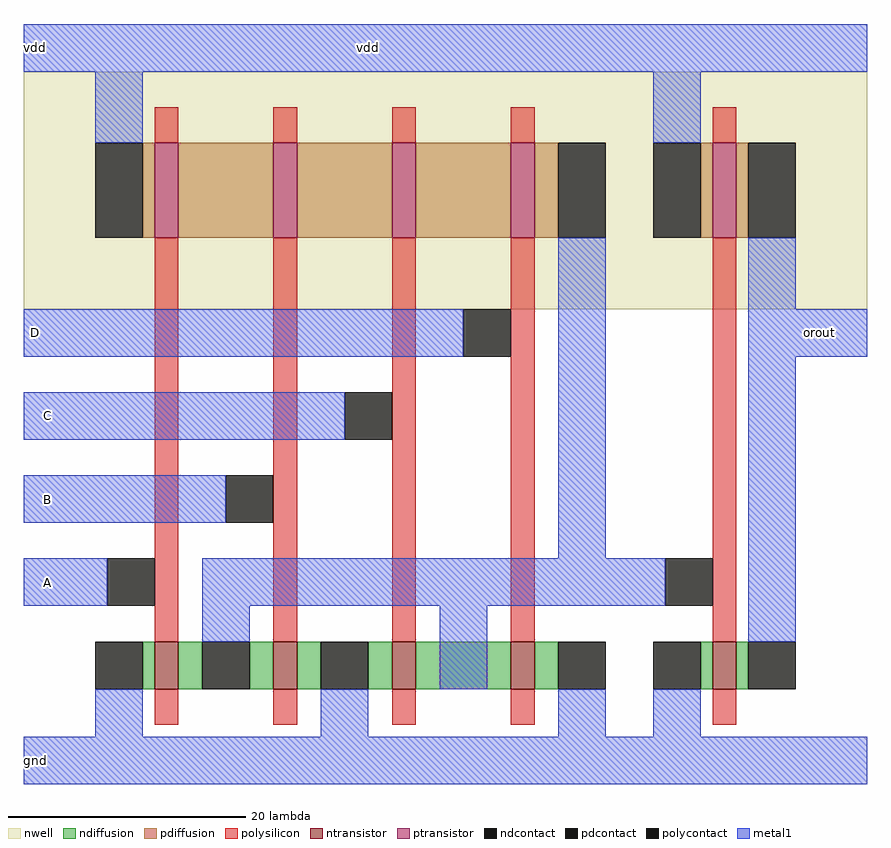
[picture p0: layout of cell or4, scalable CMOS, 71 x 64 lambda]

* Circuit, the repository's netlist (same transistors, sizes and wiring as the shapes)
* SPICE3 file created from or4.ext - technology: scmos

.include TSMC_180nm.txt
.param SUPPLY=1.8
.option scale=0.09u
.global vdd gnd

Vdd vdd gnd SUPPLY
Va A gnd pulse 0 1.8 0ns 0.1ns 0.1ns 9.9ns 20ns
Vb B gnd pulse 0 1.8 0ns 0.1ns 0.1ns 19.9ns 40ns
Vc C gnd pulse 0 1.8 0ns 0.1ns 0.1ns 39.9ns 80ns
Vd D gnd pulse 0 1.8 0ns 0.1ns 0.1ns 79.9ns 160ns

M1000 gnd B a_13_n31# Gnd CMOSN w=4 l=2
+  ad=96 pd=80 as=32 ps=24
M1001 orout a_13_n31# vdd w_0_3# CMOSP w=8 l=2
+  ad=40 pd=26 as=80 ps=52
M1002 a_33_9# C a_23_9# w_0_3# CMOSP w=8 l=2
+  ad=64 pd=32 as=64 ps=32
M1003 a_13_n31# A gnd Gnd CMOSN w=4 l=2
+  ad=0 pd=0 as=0 ps=0
M1004 a_23_9# B a_13_9# w_0_3# CMOSP w=8 l=2
+  ad=0 pd=0 as=64 ps=32
M1005 orout a_13_n31# gnd Gnd CMOSN w=4 l=2
+  ad=20 pd=18 as=0 ps=0
M1006 a_13_9# A vdd w_0_3# CMOSP w=8 l=2
+  ad=0 pd=0 as=0 ps=0
M1007 gnd D a_33_n31# Gnd CMOSN w=4 l=2
+  ad=0 pd=0 as=32 ps=24
M1008 a_13_n31# D a_33_9# w_0_3# CMOSP w=8 l=2
+  ad=48 pd=28 as=0 ps=0
M1009 a_33_n31# C gnd Gnd CMOSN w=4 l=2
+  ad=0 pd=0 as=0 ps=0


.tran 1n 160ns

.control
run
plot v(A)
plot v(B)
plot v(C)
plot v(D)
plot v(orout)

.endc
.end

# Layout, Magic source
magic
tech scmos
<< nwell >>
rect 0 3 71 23
<< ntransistor >>
rect 11 -29 13 -25
rect 21 -29 23 -25
rect 31 -29 33 -25
rect 41 -29 43 -25
rect 58 -29 60 -25
<< ptransistor >>
rect 11 9 13 17
rect 21 9 23 17
rect 31 9 33 17
rect 41 9 43 17
rect 58 9 60 17
<< ndiffusion >>
rect 10 -29 11 -25
rect 13 -29 15 -25
rect 19 -29 21 -25
rect 23 -29 25 -25
rect 29 -29 31 -25
rect 33 -29 41 -25
rect 43 -29 45 -25
rect 57 -29 58 -25
rect 60 -29 61 -25
<< pdiffusion >>
rect 10 9 11 17
rect 13 9 21 17
rect 23 9 31 17
rect 33 9 41 17
rect 43 9 45 17
rect 57 9 58 17
rect 60 9 61 17
<< ndcontact >>
rect 6 -29 10 -25
rect 15 -29 19 -25
rect 25 -29 29 -25
rect 45 -29 49 -25
rect 53 -29 57 -25
rect 61 -29 65 -25
<< pdcontact >>
rect 6 9 10 17
rect 45 9 49 17
rect 53 9 57 17
rect 61 9 65 17
<< polysilicon >>
rect 11 17 13 20
rect 21 17 23 20
rect 31 17 33 20
rect 41 17 43 20
rect 58 17 60 20
rect 11 -25 13 9
rect 21 -25 23 9
rect 31 -25 33 9
rect 41 -25 43 9
rect 58 -25 60 9
rect 11 -32 13 -29
rect 21 -32 23 -29
rect 31 -32 33 -29
rect 41 -32 43 -29
rect 58 -32 60 -29
<< polycontact >>
rect 7 -22 11 -18
rect 17 -15 21 -11
rect 27 -8 31 -4
rect 37 -1 41 3
rect 54 -22 58 -18
<< metal1 >>
rect 0 23 71 27
rect 6 17 10 23
rect 53 17 57 23
rect 0 -1 37 3
rect 0 -8 27 -4
rect 0 -15 17 -11
rect 45 -18 49 9
rect 61 3 65 9
rect 61 -1 71 3
rect 0 -22 7 -18
rect 15 -22 54 -18
rect 15 -25 19 -22
rect 35 -29 39 -22
rect 61 -25 65 -1
rect 6 -33 10 -29
rect 25 -33 29 -29
rect 45 -33 49 -29
rect 53 -33 57 -29
rect 0 -37 71 -33
<< labels >>
rlabel metal1 1 25 1 25 4 vdd
rlabel metal1 29 25 29 25 4 vdd
rlabel metal1 1 1 1 1 3 D
rlabel metal1 1 -35 1 -35 2 gnd
rlabel metal1 2 -6 2 -6 3 C
rlabel metal1 2 -13 2 -13 3 B
rlabel metal1 2 -20 2 -20 3 A
rlabel metal1 67 1 67 1 7 orout
<< end >>
